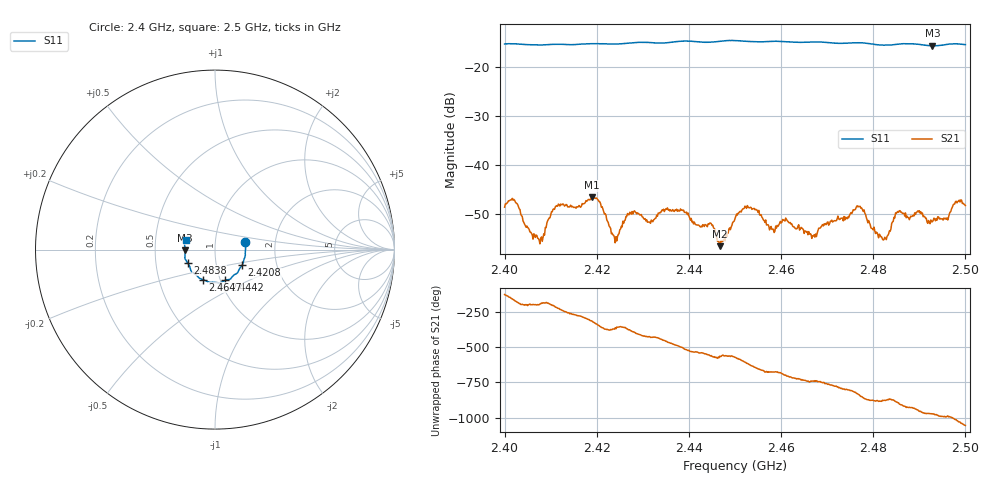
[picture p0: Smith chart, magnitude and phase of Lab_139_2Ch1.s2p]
# Hz S RI R 50
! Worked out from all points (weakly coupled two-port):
!   601 points, 2.4 GHz to 2.5 GHz, reference 50 ohm
!   highest |S21| = -46.65 dB at 2.419 GHz (marker M1); lowest = -56.7 dB at 2.4467 GHz (marker M2)
!   lowest |S11| = -15.6 dB at 2.4928 GHz (marker M3), VSWR 1.40, Z = 35.8 - j0.358 ohm
!   |S11| at or under -10 dB: start of sweep to end of sweep
!   S12 and S22 are empty: the file has one direction only
!   S11 on the Smith chart (normalised r, x): 2.4 GHz: 1.40, +0.12; 2.4208 GHz: 1.33, -0.24; 2.4442 GHz: 1.05, -0.37; 2.4647 GHz: 0.83, -0.29; 2.4838 GHz: 0.73, -0.11; 2.5 GHz: 0.72, +0.08
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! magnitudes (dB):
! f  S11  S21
! 2.4 GHz  -15.2  -48.7
! 2.4022 GHz  -15.2  -47.3
! 2.4077 GHz  -15.4  -56.2
! 2.4112 GHz  -15.3  -48.5
! 2.4167 GHz  -15.2  -48.5
! 2.419 GHz  -15.2  -46.7
! 2.4208 GHz  -15.2  -48.0
! 2.424 GHz  -15.2  -56.0
! 2.4272 GHz  -15.0  -49.7
! 2.4333 GHz  -15.0  -49.9
! 2.4442 GHz  -14.9  -52.1
! 2.4467 GHz  -14.7  -56.7
! 2.45 GHz  -14.5  -51.1
! 2.453 GHz  -14.7  -48.8
! 2.4647 GHz  -14.9  -53.1
! 2.4667 GHz  -14.8  -55.1
! 2.4768 GHz  -15.0  -48.5
! 2.4833 GHz  -15.5  -54.2
! 2.4838 GHz  -15.4  -53.2
! 2.4857 GHz  -15.2  -49.4
! 2.4928 GHz  -15.6  -51.7
! 2.5 GHz  -15.3  -48.4
